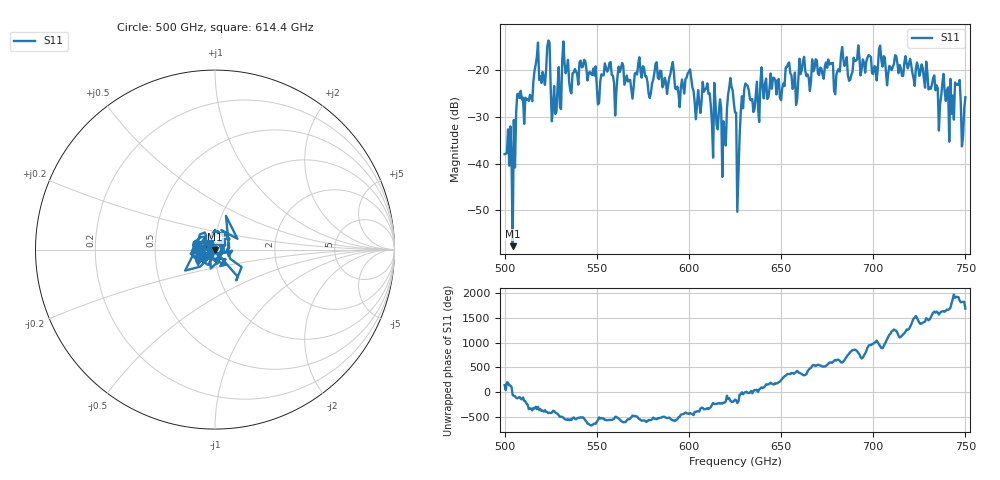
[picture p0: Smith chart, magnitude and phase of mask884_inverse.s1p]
!Created with skrf (http://scikit-rf.org).
# GHz S MA R 50.0
!freq magS11 angS11
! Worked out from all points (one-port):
!   401 points, 500 GHz to 750 GHz, reference 50 ohm
!   lowest |S11| = -57.7 dB at 504.4 GHz (marker M1), VSWR 1.00, Z = 50.1 - j0.109 ohm
!   |S11| at or under -10 dB: start of sweep to end of sweep
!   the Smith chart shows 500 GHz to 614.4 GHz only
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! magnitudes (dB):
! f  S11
! 500 GHz  -38.0
! 504.4 GHz  -57.7
! 507.5 GHz  -25.0
! 513.8 GHz  -25.3
! 516.9 GHz  -18.8
! 520.6 GHz  -20.4
! 523.8 GHz  -13.6
! 526.9 GHz  -23.4
! 531.2 GHz  -18.0
! 556.2 GHz  -19.9
! 560 GHz  -29.7
! 562.5 GHz  -20.4
! 578.8 GHz  -26.0
! 590.6 GHz  -19.3
! 593.8 GHz  -23.5
! 608.8 GHz  -24.1
! 619.4 GHz  -34.1
! 622.5 GHz  -21.7
! 625 GHz  -29.1
! 627.5 GHz  -34.1
! 629.4 GHz  -28.2
! 631.2 GHz  -23.1
! 656.2 GHz  -24.0
! 680 GHz  -21.0
! 683.8 GHz  -17.5
! 687.5 GHz  -22.1
! 718.8 GHz  -19.6
! 750 GHz  -25.8
